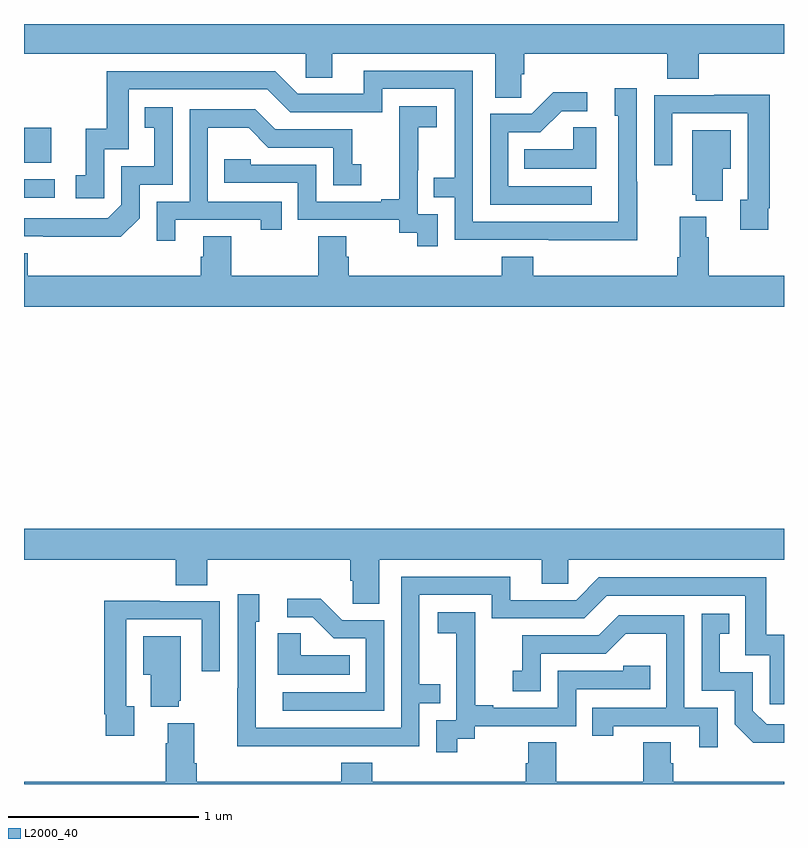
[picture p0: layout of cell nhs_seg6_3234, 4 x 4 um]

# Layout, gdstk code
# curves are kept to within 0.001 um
import gdstk
lib = gdstk.Library(unit=1e-6, precision=1e-09)
def R(c, l, rs):  # rectangles x0, y0, x1, y1
    for r in rs: c.add(gdstk.rectangle(r[:2], r[2:], *l))
def P(c, l, *ps):  # polygons
    for p in ps: c.add(gdstk.Polygon(p, *l))
L2000_40 = (2000, 40)

nhs_seg6_3234 = lib.new_cell('nhs_seg6_3234')
R(nhs_seg6_3234, L2000_40, [(301,938.586,301.162,938.682), (301,938.771,301.144,938.953)])
P(nhs_seg6_3234, L2000_40, [(303.618,939.235),(303.632,939.235),(303.632,939.344),(304.385,939.344),(304.385,939.211),(304.55,939.211),(304.55,939.344),(305,939.344),(305,939.5),(301,939.5),(301,939.344),(302.484,939.344),(302.484,939.217),(302.623,939.217),(302.623,939.344),(303.479,939.344),(303.479,939.112),(303.618,939.112)],
  [(304.227,938.669),(304.224,938.669),(304.224,939.163),(304.109,939.163),(304.109,939.018),(304.128,939.018),(304.128,938.46),(303.363,938.46),(303.363,939.255),(302.789,939.255),(302.789,939.132),(302.442,939.132),(302.322,939.252),(301.435,939.252),(301.435,938.95),(301.325,938.95),(301.325,938.703),(301.272,938.703),(301.272,938.583),(301.422,938.583),(301.422,938.841),(301.551,938.841),(301.551,939.156),(302.28,939.156),(302.4,939.036),(302.886,939.036),(302.886,939.159),(303.267,939.159),(303.267,938.69),(303.157,938.69),(303.157,938.589),(303.267,938.589),(303.267,938.364),(304.227,938.363)],
  [(303.988,938.646),(303.549,938.646),(303.549,938.931),(303.718,938.931),(303.829,939.042),(303.964,939.042),(303.964,939.14),(303.785,939.14),(303.672,939.027),(303.453,939.027),(303.453,938.55),(303.988,938.55)],
  [(304.918,938.53),(304.925,938.53),(304.925,939.128),(304.633,939.128),(304.633,939.126),(304.317,939.126),(304.317,938.757),(304.413,938.757),(304.413,939.03),(304.809,939.03),(304.809,938.574),(304.769,938.574),(304.769,938.418),(304.918,938.418)],
  [(303.177,938.499),(303.072,938.499),(303.072,938.729),(303.074,938.729),(303.074,938.957),(303.172,938.957),(303.172,939.067),(302.974,939.067),(302.974,938.861),(302.975,938.861),(302.975,938.578),(302.879,938.578),(302.879,938.565),(302.538,938.565),(302.538,938.76),(302.193,938.76),(302.193,938.787),(302.053,938.787),(302.053,938.664),(302.442,938.664),(302.442,938.469),(302.976,938.469),(302.976,938.401),(303.069,938.401),(303.069,938.331),(303.177,938.331)],
  [(301.608,938.478),(301.608,938.655),(301.782,938.655),(301.782,939.061),(301.636,939.061),(301.636,938.955),(301.685,938.955),(301.685,938.751),(301.512,938.751),(301.512,938.55),(301.44,938.478),(301,938.478),(301,938.382),(301.51,938.381)],
  [(301.795,938.469),(302.246,938.469),(302.246,938.418),(302.357,938.418),(302.357,938.565),(301.968,938.565),(301.968,938.954),(302.182,938.954),(302.286,938.85),(302.628,938.85),(302.628,938.652),(302.776,938.652),(302.776,938.761),(302.727,938.761),(302.727,938.946),(302.323,938.946),(302.218,939.051),(301.872,939.051),(301.872,938.565),(301.698,938.565),(301.698,938.358),(301.795,938.358)],
  [(304.012,938.957),(303.891,938.957),(303.891,938.842),(303.634,938.842),(303.634,938.738),(304.012,938.738)],
  [(304.678,938.738),(304.72,938.738),(304.72,938.941),(304.517,938.941),(304.517,938.601),(304.535,938.601),(304.535,938.57),(304.678,938.57)],
  [(305,938.176),(304.604,938.176),(304.604,938.378),(304.591,938.378),(304.591,938.485),(304.451,938.485),(304.451,938.272),(304.439,938.272),(304.439,938.176),(303.68,938.176),(303.68,938.275),(303.515,938.275),(303.515,938.176),(302.708,938.176),(302.708,938.274),(302.695,938.274),(302.695,938.384),(302.548,938.384),(302.548,938.176),(302.091,938.176),(302.091,938.384),(301.943,938.384),(301.943,938.274),(301.931,938.274),(301.931,938.176),(301.019,938.176),(301.019,938.293),(301,938.293),(301,938.012),(305,938.012)],
  [(302.869,936.68),(303.725,936.68),(303.725,936.553),(303.864,936.553),(303.864,936.68),(305,936.68),(305,936.844),(301,936.844),(301,936.68),(301.799,936.68),(301.799,936.547),(301.964,936.547),(301.964,936.68),(302.717,936.68),(302.717,936.571),(302.73,936.571),(302.73,936.448),(302.869,936.448)],
  [(302.585,935.7),(303.081,935.7),(303.081,935.925),(303.191,935.925),(303.191,936.026),(303.081,936.026),(303.081,936.495),(303.462,936.495),(303.462,936.372),(303.948,936.372),(304.068,936.492),(304.797,936.492),(304.797,936.177),(304.926,936.177),(304.926,935.919),(305,935.919),(305,936.286),(304.906,936.286),(304.906,936.588),(304.026,936.588),(303.906,936.468),(303.559,936.468),(303.559,936.591),(302.985,936.591),(302.985,935.796),(302.22,935.796),(302.22,936.354),(302.239,936.354),(302.239,936.499),(302.124,936.499),(302.124,936.005),(302.122,936.005),(302.122,935.699)],
  [(302.895,936.363),(302.676,936.363),(302.563,936.476),(302.385,936.476),(302.385,936.378),(302.519,936.378),(302.63,936.267),(302.799,936.267),(302.799,935.982),(302.361,935.982),(302.361,935.886),(302.895,935.886)],
  [(301.579,935.91),(301.539,935.91),(301.539,936.366),(301.935,936.366),(301.935,936.093),(302.031,936.093),(302.031,936.462),(301.715,936.462),(301.715,936.464),(301.423,936.464),(301.423,935.866),(301.431,935.866),(301.431,935.754),(301.579,935.754)],
  [(303.28,935.737),(303.372,935.737),(303.372,935.805),(303.906,935.805),(303.906,936),(304.295,936),(304.295,936.123),(304.155,936.123),(304.155,936.096),(303.81,936.096),(303.81,935.901),(303.469,935.901),(303.469,935.914),(303.374,935.914),(303.374,936.197),(303.375,936.197),(303.375,936.403),(303.177,936.403),(303.177,936.293),(303.275,936.293),(303.275,936.065),(303.276,936.065),(303.276,935.835),(303.171,935.835),(303.171,935.667),(303.28,935.667)],
  [(305,935.814),(304.908,935.814),(304.836,935.886),(304.836,936.087),(304.663,936.087),(304.663,936.291),(304.712,936.291),(304.712,936.397),(304.566,936.397),(304.566,935.991),(304.74,935.991),(304.74,935.814),(304.838,935.717),(305,935.717)],
  [(304.65,935.901),(304.476,935.901),(304.476,936.387),(304.13,936.387),(304.025,936.282),(303.622,936.282),(303.622,936.097),(303.573,936.097),(303.573,935.988),(303.72,935.988),(303.72,936.186),(304.062,936.186),(304.166,936.29),(304.38,936.29),(304.38,935.901),(303.991,935.901),(303.991,935.754),(304.102,935.754),(304.102,935.805),(304.553,935.805),(304.553,935.694),(304.65,935.694)],
  [(302.714,936.178),(302.457,936.178),(302.457,936.293),(302.336,936.293),(302.336,936.074),(302.714,936.074)],
  [(301.814,935.937),(301.825,935.937),(301.825,936.277),(301.628,936.277),(301.628,936.074),(301.667,936.074),(301.667,935.906),(301.814,935.906)],
  [(305,935.512),(304.418,935.512),(304.418,935.61),(304.405,935.61),(304.405,935.72),(304.258,935.72),(304.258,935.512),(303.801,935.512),(303.801,935.72),(303.653,935.72),(303.653,935.61),(303.641,935.61),(303.641,935.512),(302.834,935.512),(302.834,935.611),(302.669,935.611),(302.669,935.512),(301.91,935.512),(301.91,935.608),(301.897,935.608),(301.897,935.821),(301.757,935.821),(301.757,935.714),(301.745,935.714),(301.745,935.512),(301,935.512),(301,935.5),(305,935.5)])

lib.write_gds('nhs_seg6_3234.gds')
